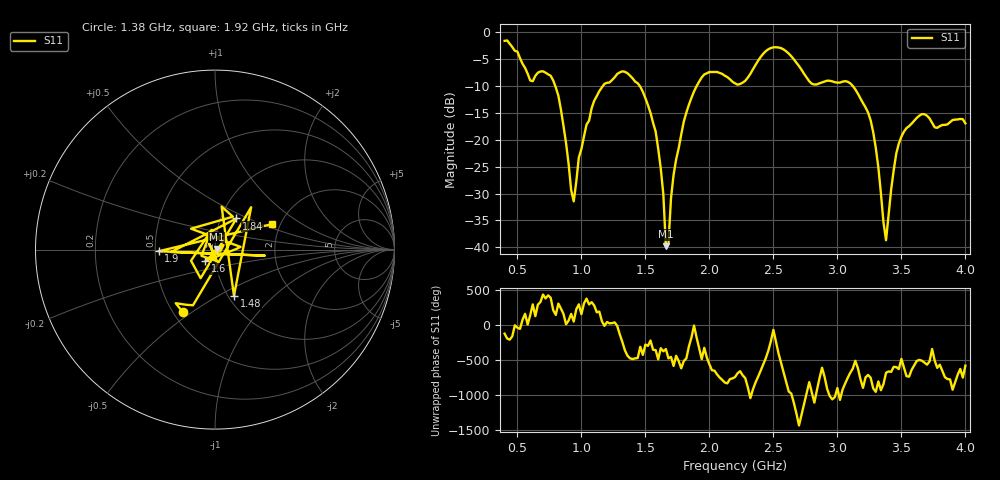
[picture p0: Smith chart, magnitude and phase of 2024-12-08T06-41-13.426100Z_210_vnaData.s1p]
!Created with skrf (http://scikit-rf.org).
# Hz S RI R 50.0
!freq ReS11 ImS11
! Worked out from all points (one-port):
!   181 points, 400 MHz to 4 GHz, reference 50 ohm
!   lowest |S11| = -39.8 dB at 1.66 GHz (marker M1), VSWR 1.02, Z = 51 + j0.283 ohm
!   |S11| at or under -10 dB: 795 MHz to 1.169 GHz (374.2 MHz wide, 38.1 % of centre); 1.455 GHz to 1.902 GHz (446.7 MHz wide, 26.6 % of centre); 3.119 GHz to end of sweep
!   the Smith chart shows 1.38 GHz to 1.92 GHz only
!   S11 on the Smith chart (normalised r, x): 1.38 GHz: 0.56, -0.46; 1.48 GHz: 1.07, -0.59; 1.6 GHz: 0.89, -0.11; 1.84 GHz: 1.19, +0.43; 1.9 GHz: 0.52, -0.01; 1.92 GHz: 1.80, +0.58
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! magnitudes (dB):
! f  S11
! 400 MHz  -1.7
! 600 MHz  -9.0
! 760 MHz  -8.1
! 860 MHz  -17.4
! 940 MHz  -31.5
! 980 MHz  -23.3
! 1.1 GHz  -12.8
! 1.3 GHz  -7.5
! 1.38 GHz  -8.1
! 1.48 GHz  -11.1
! 1.6 GHz  -21.7
! 1.64 GHz  -30.1
! 1.66 GHz  -39.8
! 1.68 GHz  -39.3
! 1.7 GHz  -30.9
! 1.76 GHz  -21.6
! 1.84 GHz  -13.5
! 1.9 GHz  -10.1
! 1.92 GHz  -9.2
! 2.2 GHz  -9.5
! 2.48 GHz  -3.0
! 2.66 GHz  -5.1
! 3.1 GHz  -9.5
! 3.26 GHz  -16.4
! 3.38 GHz  -38.7
! 3.46 GHz  -22.6
! 3.56 GHz  -17.5
! 4 GHz  -17.0
